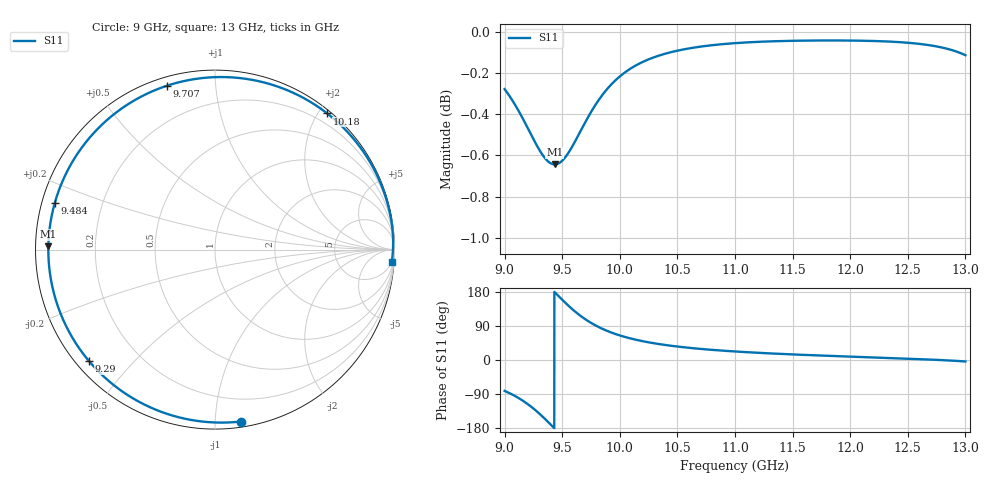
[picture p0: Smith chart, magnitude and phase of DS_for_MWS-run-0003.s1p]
! TOUCHSTONE file generated by CST DESIGN STUDIO
! Date and time: Tue Feb  4 15:41:38 2025
! Project name: C:\Work\MatlabApps\UnitCellOptimizationMatlab\CST\unitcell.cst
! Tree item: Tasks\Sweep1\SPara1\S-Parameters
! Header version: 2024
! Port assignment regex: !\s*Touchstone port\s*([0-9]+)\s*=\s*(CST MWS port|CST DES external port|CST DES block port)\s*(.+)\s* \(\"(.*)\"\)(\s*mode\s*([0-9]+))?.*
! Touchstone port assignment:
! Touchstone port 1 = CST DES external port 1 ("")
# GHz S MA R 50
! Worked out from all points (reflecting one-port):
!   4001 points, 9 GHz to 13 GHz, reference 50 ohm
!   lowest |S11| = -0.6 dB at 9.435 GHz (marker M1), VSWR 27.01, Z = 1.85 + j0.499 ohm
!   phase of S11 starts at -82 deg and turns -282 deg over the sweep
!   S11 on the Smith chart (normalised r, x): 9 GHz: 0.04, -1.16; 9.29 GHz: 0.04, -0.38; 9.484 GHz: 0.04, +0.14; 9.707 GHz: 0.04, +0.75; 10.18 GHz: 0.05, +2.12; 13 GHz: 5, -28
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9  0.9686 -81.5
9.089  0.9603 -94.8
9.162  0.9523 -108.2
9.228  0.9444 -122.7
9.29  0.9374 -138.4
9.367  0.9307 -160.3
9.401  0.9292 -170.7
9.435  0.9286 178.9
9.484  0.9297 163.8
9.5  0.9305 159.0
9.553  0.9345 143.5
9.603  0.9397 130.1
9.654  0.9455 117.7
9.707  0.9516 106.2
9.773  0.9585 94.0
9.851  0.9656 82.0
9.923  0.9709 72.9
10  0.9755 64.8
10.087  0.9795 57.3
10.184  0.983 50.5
10.328  0.9867 42.6
10.5  0.9896 35.5
10.723  0.9921 28.7
11  0.9938 22.5
11.5  0.9951 14.7
12  0.9953 9.0
12.5  0.994 3.6
13  0.9871 -3.9
